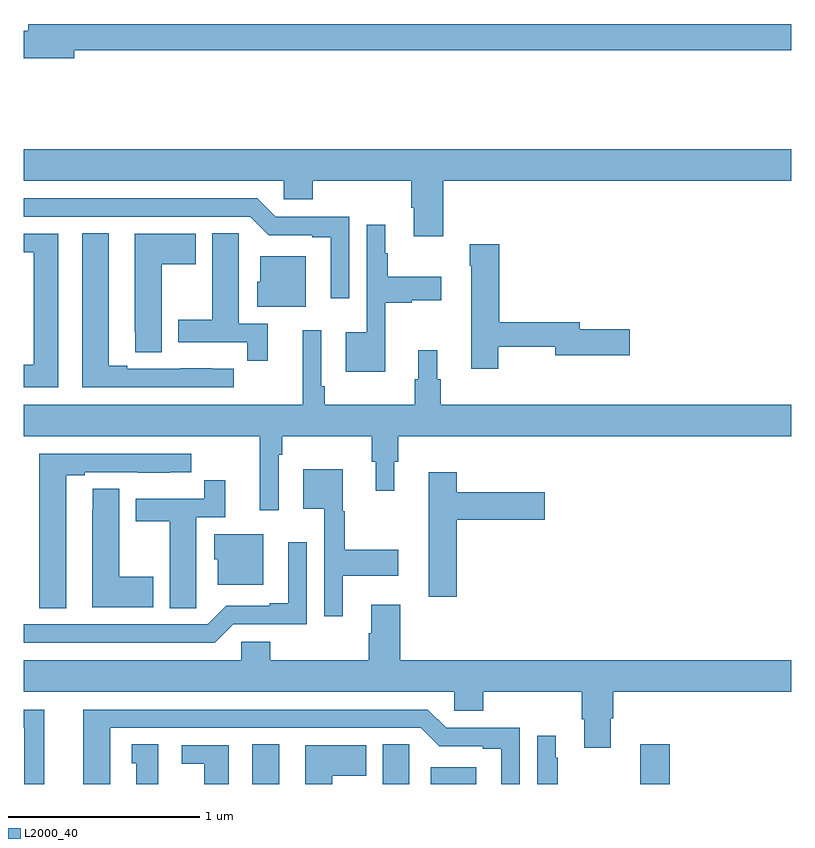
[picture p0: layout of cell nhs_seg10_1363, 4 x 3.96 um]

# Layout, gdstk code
import gdstk
lib = gdstk.Library(unit=1e-6, precision=1e-09)
def R(c, l, rs):  # rectangles x0, y0, x1, y1
    for r in rs: c.add(gdstk.rectangle(r[:2], r[2:], *l))
def P(c, l, *ps):  # polygons
    for p in ps: c.add(gdstk.Polygon(p, *l))
L2000_40 = (2000, 40)

nhs_seg10_1363 = lib.new_cell('nhs_seg10_1363')
R(nhs_seg10_1363, L2000_40, [(182.192,1302.5,182.332,1302.707), (183.122,1302.5,183.358,1302.586), (184.213,1302.5,184.367,1302.706)])
P(nhs_seg10_1363, L2000_40, [(181.264,1306.324),(185,1306.324),(185,1306.46),(181.025,1306.46),(181.025,1306.424),(181,1306.424),(181,1306.282),(181.264,1306.282)],
  [(183.185,1305.644),(185,1305.644),(185,1305.808),(181,1305.808),(181,1305.644),(182.355,1305.644),(182.355,1305.546),(182.507,1305.546),(182.507,1305.644),(183.02,1305.644),(183.02,1305.502),(183.032,1305.502),(183.032,1305.354),(183.185,1305.354)],
  [(182.697,1305.456),(182.313,1305.456),(182.217,1305.552),(181,1305.552),(181,1305.456),(182.181,1305.456),(182.277,1305.36),(182.504,1305.36),(182.504,1305.348),(182.6,1305.348),(182.6,1305.03),(182.697,1305.03)],
  [(182.884,1305.008),(183.021,1305.008),(183.021,1305.02),(183.175,1305.02),(183.175,1305.142),(182.896,1305.142),(182.896,1305.266),(182.884,1305.266),(182.884,1305.415),(182.787,1305.415),(182.787,1304.854),(182.678,1304.854),(182.678,1304.648),(182.884,1304.648)],
  [(182.095,1304.664),(181.982,1304.664),(181.982,1304.665),(181.816,1304.665),(181.816,1304.664),(181.54,1304.664),(181.54,1304.679),(181.444,1304.679),(181.444,1305.371),(181.304,1305.371),(181.304,1304.568),(182.095,1304.568)],
  [(182.273,1304.898),(182.122,1304.898),(182.122,1305.26),(182.121,1305.26),(182.121,1305.371),(181.982,1305.371),(181.982,1304.919),(181.805,1304.919),(181.805,1304.802),(182.164,1304.802),(182.164,1304.706),(182.273,1304.706)],
  [(181.72,1305.208),(181.897,1305.208),(181.897,1305.367),(181.58,1305.367),(181.58,1304.857),(181.581,1304.857),(181.581,1304.749),(181.72,1304.749)],
  [(181.18,1305.366),(181,1305.366),(181,1305.27),(181.052,1305.27),(181.052,1304.684),(181,1304.684),(181,1304.568),(181.18,1304.568)],
  [(183.474,1304.778),(183.77,1304.778),(183.77,1304.735),(184.159,1304.735),(184.159,1304.87),(183.898,1304.87),(183.898,1304.906),(183.479,1304.906),(183.479,1305.313),(183.325,1305.313),(183.325,1305.2),(183.332,1305.2),(183.332,1304.664),(183.474,1304.664)],
  [(182.47,1305.25),(182.234,1305.25),(182.234,1305.117),(182.216,1305.117),(182.216,1304.987),(182.47,1304.987)],
  [(182.328,1304.216),(182.348,1304.216),(182.348,1304.312),(182.815,1304.312),(182.815,1304.178),(182.834,1304.178),(182.834,1304.028),(182.932,1304.028),(182.932,1304.178),(182.951,1304.178),(182.951,1304.312),(185,1304.312),(185,1304.476),(183.173,1304.476),(183.173,1304.61),(183.154,1304.61),(183.154,1304.761),(183.056,1304.761),(183.056,1304.61),(183.037,1304.61),(183.037,1304.476),(182.57,1304.476),(182.57,1304.572),(182.55,1304.572),(182.55,1304.863),(182.453,1304.863),(182.453,1304.476),(181,1304.476),(181,1304.312),(182.231,1304.312),(182.231,1303.926),(182.328,1303.926)],
  [(181.222,1304.109),(181.318,1304.109),(181.318,1304.124),(181.594,1304.124),(181.594,1304.123),(181.76,1304.123),(181.76,1304.124),(181.873,1304.124),(181.873,1304.22),(181.082,1304.22),(181.082,1303.417),(181.222,1303.417)],
  [(182.662,1303.586),(182.953,1303.586),(182.953,1303.721),(182.674,1303.721),(182.674,1303.92),(182.662,1303.92),(182.662,1304.14),(182.456,1304.14),(182.456,1303.934),(182.565,1303.934),(182.565,1303.374),(182.662,1303.374)],
  [(183.257,1303.877),(183.715,1303.877),(183.715,1304.019),(183.257,1304.019),(183.257,1304.125),(183.11,1304.125),(183.11,1303.476),(183.257,1303.476)],
  [(181.899,1303.528),(181.9,1303.528),(181.9,1303.89),(182.051,1303.89),(182.051,1304.083),(181.942,1304.083),(181.942,1303.986),(181.583,1303.986),(181.583,1303.87),(181.76,1303.87),(181.76,1303.417),(181.899,1303.417)],
  [(181.675,1303.581),(181.498,1303.581),(181.498,1304.039),(181.359,1304.039),(181.359,1303.931),(181.358,1303.931),(181.358,1303.421),(181.675,1303.421)],
  [(182.248,1303.801),(181.994,1303.801),(181.994,1303.671),(182.012,1303.671),(182.012,1303.538),(182.248,1303.538)],
  [(182.091,1303.332),(182.475,1303.332),(182.475,1303.759),(182.378,1303.759),(182.378,1303.441),(182.282,1303.441),(182.282,1303.428),(182.055,1303.428),(181.959,1303.332),(181,1303.332),(181,1303.236),(181.995,1303.236)],
  [(184.06,1302.843),(184.073,1302.843),(184.073,1302.98),(185,1302.98),(185,1303.144),(182.963,1303.144),(182.963,1303.435),(182.81,1303.435),(182.81,1303.286),(182.798,1303.286),(182.798,1303.144),(182.285,1303.144),(182.285,1303.242),(182.133,1303.242),(182.133,1303.144),(181,1303.144),(181,1302.98),(183.243,1302.98),(183.243,1302.882),(183.395,1302.882),(183.395,1302.98),(183.908,1302.98),(183.908,1302.838),(183.92,1302.838),(183.92,1302.69),(184.06,1302.69)],
  [(181.45,1302.792),(183.069,1302.792),(183.165,1302.696),(183.392,1302.696),(183.392,1302.684),(183.488,1302.684),(183.488,1302.5),(183.585,1302.5),(183.585,1302.792),(183.201,1302.792),(183.105,1302.888),(181.31,1302.888),(181.31,1302.5),(181.45,1302.5)],
  [(181.108,1302.888),(181,1302.888),(181,1302.792),(181.004,1302.792),(181.004,1302.5),(181.108,1302.5)],
  [(183.784,1302.638),(183.772,1302.638),(183.772,1302.751),(183.675,1302.751),(183.675,1302.5),(183.784,1302.5)],
  [(181.702,1302.707),(181.562,1302.707),(181.562,1302.609),(181.586,1302.609),(181.586,1302.5),(181.702,1302.5)],
  [(183.01,1302.596),(183.009,1302.596),(183.009,1302.707),(182.87,1302.707),(182.87,1302.5),(183.01,1302.5)],
  [(182.608,1302.544),(182.785,1302.544),(182.785,1302.703),(182.468,1302.703),(182.468,1302.5),(182.608,1302.5)],
  [(182.068,1302.702),(181.824,1302.702),(181.824,1302.606),(181.94,1302.606),(181.94,1302.5),(182.068,1302.5)])

lib.write_gds('nhs_seg10_1363.gds')
